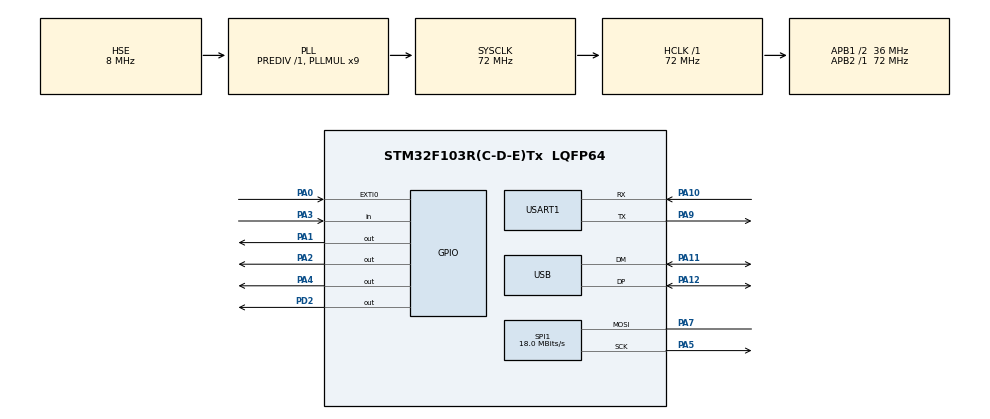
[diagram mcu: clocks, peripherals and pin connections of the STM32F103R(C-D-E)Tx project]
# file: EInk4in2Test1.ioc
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Mcu.Family=STM32F1
Mcu.Name=STM32F103R(C-D-E)Tx
Mcu.Package=LQFP64
NVIC.EXTI0_IRQn=true\:0\:0\:false\:true\:true\:1\:true
NVIC.PriorityGroup=NVIC_PRIORITYGROUP_4
NVIC.USART1_IRQn=true\:0\:0\:false\:false\:true\:true
NVIC.USB_LP_CAN1_RX0_IRQn=true\:0\:0\:false\:false\:true\:false
PA0-WKUP.Signal=GPXTI0
PA1.Signal=GPIO_Output
PA10.Mode=Asynchronous
PA10.Signal=USART1_RX
PA11.Mode=Device
PA11.Signal=USB_DM
PA12.Mode=Device
PA12.Signal=USB_DP
PA13.Mode=JTAG_5_pins
PA13.Signal=SYS_JTMS-SWDIO
PA14.Mode=JTAG_5_pins
PA14.Signal=SYS_JTCK-SWCLK
PA15.Mode=JTAG_5_pins
PA15.Signal=SYS_JTDI
PA2.Signal=GPIO_Output
PA3.Signal=GPIO_Input
PA4.Signal=GPIO_Output
PA5.Mode=Simplex_Bidirectional_Master
PA5.Signal=SPI1_SCK
PA7.Mode=Simplex_Bidirectional_Master
PA7.Signal=SPI1_MOSI
PA9.Mode=Asynchronous
PA9.Signal=USART1_TX
PB3.Mode=JTAG_5_pins
PB3.Signal=SYS_JTDO-TRACESWO
PB4.Mode=JTAG_5_pins
PB4.Signal=SYS_NJTRST
PD0-OSC_IN.Mode=HSE-External-Oscillator
PD0-OSC_IN.Signal=RCC_OSC_IN
PD1-OSC_OUT.Mode=HSE-External-Oscillator
PD1-OSC_OUT.Signal=RCC_OSC_OUT
PD2.Signal=GPIO_Output
ProjectManager.HeapSize=0x200
ProjectManager.StackSize=0x400
ProjectManager.TargetToolchain=TrueSTUDIO
RCC.AHBFreq_Value=72000000
RCC.APB1CLKDivider=RCC_HCLK_DIV2
RCC.APB1Freq_Value=36000000
RCC.APB1TimFreq_Value=72000000
RCC.APB2Freq_Value=72000000
RCC.APB2TimFreq_Value=72000000
RCC.HCLKFreq_Value=72000000
RCC.PLLMUL=RCC_PLL_MUL9
RCC.SYSCLKFreq_VALUE=72000000
RCC.SYSCLKSource=RCC_SYSCLKSOURCE_PLLCLK
RCC.USBFreq_Value=48000000
RCC.USBPrescaler=RCC_USBCLKSOURCE_PLL_DIV1_5
SPI1.BaudRatePrescaler=SPI_BAUDRATEPRESCALER_4
SPI1.CalculateBaudRate=18.0 MBits/s
SPI1.Direction=SPI_DIRECTION_1LINE
SPI1.Mode=SPI_MODE_MASTER
SPI1.VirtualType=VM_MASTER
USART1.VirtualMode=VM_ASYNC
USB_DEVICE.CLASS_NAME_FS=HID
USB_DEVICE.VirtualMode=Hid
USB_DEVICE.VirtualModeFS=Hid_FS
VP_USB_DEVICE_VS_USB_DEVICE_HID_FS.Mode=HID_FS
board=custom

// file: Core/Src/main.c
/**
  ******************************************************************************
  * @file           : main.c
  * @brief          : Main program body
  ******************************************************************************
  * This notice applies to any and all portions of this file
  * that are not between comment pairs USER CODE BEGIN and
  * USER CODE END. Other portions of this file, whether
  * inserted by the user or by software development tools
  * are owned by their respective copyright owners.
  *
  * Copyright (c) 2018 STMicroelectronics International N.V.
  * All rights reserved.
  *
  * Redistribution and use in source and binary forms, with or without
  * modification, are permitted, provided that the following conditions are met:
  *
  * 1. Redistribution of source code must retain the above copyright notice,
  *    this list of conditions and the following disclaimer.
  * 2. Redistributions in binary form must reproduce the above copyright notice,
  *    this list of conditions and the following disclaimer in the documentation
  *    and/or other materials provided with the distribution.
  * 3. Neither the name of STMicroelectronics nor the names of other
  *    contributors to this software may be used to endorse or promote products
  *    derived from this software without specific written permission.
  * 4. This software, including modifications and/or derivative works of this
  *    software, must execute solely and exclusively on microcontroller or
  *    microprocessor devices manufactured by or for STMicroelectronics.
  * 5. Redistribution and use of this software other than as permitted under
  *    this license is void and will automatically terminate your rights under
  *    this license.
  *
  * THIS SOFTWARE IS PROVIDED BY STMICROELECTRONICS AND CONTRIBUTORS "AS IS"
  * AND ANY EXPRESS, IMPLIED OR STATUTORY WARRANTIES, INCLUDING, BUT NOT
  * LIMITED TO, THE IMPLIED WARRANTIES OF MERCHANTABILITY, FITNESS FOR A
  * PARTICULAR PURPOSE AND NON-INFRINGEMENT OF THIRD PARTY INTELLECTUAL PROPERTY
  * RIGHTS ARE DISCLAIMED TO THE FULLEST EXTENT PERMITTED BY LAW. IN NO EVENT
  * SHALL STMICROELECTRONICS OR CONTRIBUTORS BE LIABLE FOR ANY DIRECT, INDIRECT,
  * INCIDENTAL, SPECIAL, EXEMPLARY, OR CONSEQUENTIAL DAMAGES (INCLUDING, BUT NOT
  * LIMITED TO, PROCUREMENT OF SUBSTITUTE GOODS OR SERVICES; LOSS OF USE, DATA,
  * OR PROFITS; OR BUSINESS INTERRUPTION) HOWEVER CAUSED AND ON ANY THEORY OF
  * LIABILITY, WHETHER IN CONTRACT, STRICT LIABILITY, OR TORT (INCLUDING
  * NEGLIGENCE OR OTHERWISE) ARISING IN ANY WAY OUT OF THE USE OF THIS SOFTWARE,
  * EVEN IF ADVISED OF THE POSSIBILITY OF SUCH DAMAGE.
  *
  ******************************************************************************
  */
#include "main.h"
#include "stm32f1xx_hal.h"
#include "spi.h"
#include "usart.h"
#include "usb_device.h"
#include "gpio.h"

/* USER CODE BEGIN Includes */
#include "epd4in2.h"
#include "epdif.h"
#include "epdpaint.h"
#include "imagedata.h"
#include "Page.h"
#include <stdlib.h>
#include <math.h>
/* USER CODE END Includes */

/* USER CODE BEGIN PV */
/* Private variables ---------------------------------------------------------*/

unsigned char frame[EPD_WIDTH * EPD_HEIGHT / 8];
char strBuf[32];
/* USER CODE END PV */

void SystemClock_Config(void);
static void MX_NVIC_Init(void);

/* USER CODE BEGIN PFP */
/* Private function prototypes -----------------------------------------------*/

/* USER CODE END PFP */

/* USER CODE BEGIN 0 */

// Widget
//   position
//   size
//   data
//
// Widget_position : x, y
// Widget_size: w, h
// Widget_data: title, value
// Widget_data_title: const char *
// Widget_data_value: data pointer, data type(...), extra(precision, ... ??)
#if 1

/*
const char * Widget_GetLabel2(unsigned short id)
{
	switch (id)
	{
	case Widget_Empty :
		break;
	case Widget_Speed_Ground :
		return (const char *)"Speed (Km/h)";
	case Widget_Speed_Air :
	case Widget_Speed_Vertical :
		break;

	case Widget_Time_Flight :
	case Widget_Time_Current :
	case Widget_Date_Current :
		break;

	case Widget_Altitude_GPS :
		return "Altitude (m)";
	case Widget_Altitude_QNH :
	case Widget_Altitude_Takeoff :
	case Widget_Altitdue_Gain :
	case Widget_Altitude_Ref :

	case Widget_Heading :
	case Widget_Bearing :

	case Widget_LD :

	case Widget_Status_GPS :
	case Widget_Status_Battery :
	case Widget_Status_Date :
	case Widget_Status_Time :
	case Widget_Status_Bluetooth :
	case Widget_Status_Temperature :

	case Widget_Wind_Direction :
	case Widget_Wind_Speed :

	case Widget_G_VarioBar :
	case Widget_G_VarioHistory :
	case Widget_G_Heading :
	case Widget_G_Bearing :
	case Widget_G_North :
	case Widget_G_ThermalAssist :
		break;
	}

	return "";
}

const char * Widget_GetString2(unsigned short id)
{
	switch (id)
	{
	case Widget_Empty :
		break;
	case Widget_Speed_Ground :
		return "32";
	case Widget_Speed_Air :
	case Widget_Speed_Vertical :

	case Widget_Time_Flight :
	case Widget_Time_Current :
		return "10:33";
	case Widget_Date_Current :
		return "11/14";

	case Widget_Altitude_GPS :
		return "1450";
	case Widget_Altitude_QNH :
	case Widget_Altitude_Takeoff :
	case Widget_Altitdue_Gain :
	case Widget_Altitude_Ref :

	case Widget_Heading :
	case Widget_Bearing :

	case Widget_LD :

	case Widget_Status_GPS :
	case Widget_Status_Battery :
	case Widget_Status_Date :
	case Widget_Status_Time :
	case Widget_Status_Bluetooth :
	case Widget_Status_Temperature :

	case Widget_Wind_Direction :
	case Widget_Wind_Speed :

	case Widget_G_VarioBar :
	case Widget_G_VarioHistory :
	case Widget_G_Heading :
	case Widget_G_Bearing :
	case Widget_G_North :
	case Widget_G_ThermalAssist :
		break;
	}

	return "";
}

void * Widget_GetDataPtr2(unsigned short id)
{
	switch (id)
	{
	case Widget_Empty :
	case Widget_Speed_Ground :
	case Widget_Speed_Air :
	case Widget_Speed_Vertical :

	case Widget_Time_Flight :
	case Widget_Time_Current :
	case Widget_Date_Current :

	case Widget_Altitude_GPS :
	case Widget_Altitude_QNH :
	case Widget_Altitude_Takeoff :
	case Widget_Altitdue_Gain :
	case Widget_Altitude_Ref :

	case Widget_Heading :
	case Widget_Bearing :

	case Widget_LD :

	case Widget_Status_GPS :
	case Widget_Status_Battery :
	case Widget_Status_Date :
	case Widget_Status_Time :
	case Widget_Status_Bluetooth :
	case Widget_Status_Temperature :

	case Widget_Wind_Direction :
	case Widget_Wind_Speed :

	case Widget_G_VarioBar :
	case Widget_G_VarioHistory :
	case Widget_G_Heading :
	case Widget_G_Bearing :
	case Widget_G_North :
	case Widget_G_ThermalAssist :
		break;
	}

	return 0;
}

void Widget_DrawLabel(Widget * this, Paint * paint)
{
	// erase bkground
	Paint_DrawFilledRectangle(paint, this->x, this->y, this->x + this->w - 0, this->y + this->h - 0, COLORED);
	// draw frame
	//Paint_DrawRectangle(paint, this->x, this->y, this->x + this->w - 1, this->y + this->h - 1, COLORED);

	// draw value
	const char * value = Widget_GetString(this->cId);
	int x = this->x + 2;
	int y = this->y + 2;
	Paint_DrawStringAt(paint, x, y, value, &Font12, UNCOLORED);
}

void Widget_DrawText(Widget * this, Paint * paint)
{
	// erase background
	Paint_DrawFilledRectangle(paint, this->x, this->y, this->x + this->w - 0, this->y + this->h - 0, UNCOLORED);
	// draw frame
	Paint_DrawRectangle(paint, this->x, this->y, this->x + this->w - 0, this->y + this->h - 0, COLORED);

	// draw label
	const char * label = Widget_GetLabel(this->cId);
	int x = this->x + 2;
	int y = this->y + 2;
	if (label)
		Paint_DrawStringAt(paint, x, y, label, &Font12, COLORED);

	// draw value
	const char * value = Widget_GetString(this->cId);
	x = this->x + this->w - (Font24.Width * strlen((char *)value));
	y = y + 12;
	Paint_DrawStringAt(paint, x, y, value, &Font24, COLORED);
}
*/

#endif

/**
  * @brief  EXTI line detection callbacks.
  * @param  GPIO_Pin: Specifies the pins connected EXTI line
  * @retval None
  */

volatile int pressed = 0;
volatile uint32_t tick;
volatile uint32_t tickPress;

void HAL_GPIO_EXTI_Callback(uint16_t GPIO_Pin)
{
	tickPress = tick = HAL_GetTick();
	pressed = 1;
}

void goStandbyMode()
{
	  /* Enable Power Clock*/
	  //__HAL_RCC_PWR_CLK_ENABLE();

	  /* Allow access to Backup */
	  //HAL_PWR_EnableBkUpAccess();

	  /* Reset RTC Domain */
	  //__HAL_RCC_BACKUPRESET_FORCE();
	  //__HAL_RCC_BACKUPRESET_RELEASE();

	  /* Disable all used wake-up sources: Pin1(PA.0) */
	  HAL_PWR_DisableWakeUpPin(PWR_WAKEUP_PIN1);

	  /* Clear all related wake-up flags */
	  __HAL_PWR_CLEAR_FLAG(PWR_FLAG_WU);

	  /* Re-enable all used wake-up sources: Pin1(PA.0) */
	  HAL_PWR_EnableWakeUpPin(PWR_WAKEUP_PIN1);

	  /* Request to enter STANDBY mode  */
	  HAL_PWR_EnterSTANDBYMode();

	  /* This code will never be reached! */
	  while (1)
	  {
	  }
}

/* USER CODE END 0 */

int main(void)
{
  /* USER CODE BEGIN 1 */
	unsigned char* frame_buffer = frame; // (unsigned char*)malloc(EPD_WIDTH * EPD_HEIGHT / 8);
  /* USER CODE END 1 */

  /* MCU Configuration----------------------------------------------------------*/

  /* Reset of all peripherals, Initializes the Flash interface and the Systick. */
  HAL_Init();

  /* Configure the system clock */
  SystemClock_Config();

  /* Initialize all configured peripherals */
  MX_GPIO_Init();
  MX_USART1_UART_Init();
  MX_USB_DEVICE_Init();
  MX_SPI1_Init();

  /* Initialize interrupts */
  MX_NVIC_Init();
  /* USER CODE BEGIN 2 */
  if (__HAL_PWR_GET_FLAG(PWR_FLAG_SB) != RESET)
  {
    /* Clear Standby flag */
    __HAL_PWR_CLEAR_FLAG(PWR_FLAG_SB);
  }

  printf("EInk4in2 Test start...\n");

  pressed = 0;
  tick = HAL_GetTick();

  while (1)
  {
	  if (! pressed)
	  {
		  if ((HAL_GetTick() - tick) > 500)
		  {
			  HAL_GPIO_TogglePin(GPIOD, GPIO_PIN_2);
			  tick = HAL_GetTick();
		  }
	  }
	  else
	  {
		  if ((HAL_GetTick() - tickPress) > 200)
		  {
			  HAL_GPIO_TogglePin(GPIOD, GPIO_PIN_2);
			  tickPress = HAL_GetTick();
		  }

		  if (HAL_GPIO_ReadPin(GPIOA, GPIO_PIN_0) == GPIO_PIN_RESET)
		  {
			  if ((HAL_GetTick() - tick) > 2000)
			  {
				 for (int i = 0; i < 10; i++)
				 {
					 HAL_GPIO_TogglePin(GPIOD, GPIO_PIN_2);
					 HAL_Delay(100);
				 }

				 HAL_GPIO_WritePin(GPIOD, GPIO_PIN_2, GPIO_PIN_RESET);
				 HAL_Delay(1000);

				 goStandbyMode();
			  }
			  else
			  {
				  pressed = 0;
			  }
		  }
	  }
  }

  EPD epd;
  if (EPD_Init(&epd) != 0) {
    printf("e-Paper init failed\n");
    return -1;
  }

  //
  EPD_ClearFrame(&epd);
  EPD_DisplayFrame(&epd);

  //
  Paint paint;
  Paint_Init(&paint, frame_buffer, epd.width, epd.height);
  Paint_Clear(&paint, UNCOLORED);

#if 0
#if 1

	Paint_DrawFilledCircle(&paint, 32, 32, 8, COLORED);
	EPD_SetPartialWindow(&epd, Paint_GetImage(&paint), 0, 0, Paint_GetWidth(&paint), Paint_GetHeight(&paint),2);
	EPD_DisplayFrameQuick(&epd);
	EPD_WaitUntilIdle(&epd);

	Paint_DrawFilledCircle(&paint, 16, 16, 8, COLORED);
	EPD_SetPartialWindow(&epd, Paint_GetImage(&paint), 0, 0, Paint_GetWidth(&paint), Paint_GetHeight(&paint),2);
	EPD_DisplayFrameQuick(&epd);
	EPD_WaitUntilIdle(&epd);

	Paint_DrawFilledCircle(&paint, 40, 32, 18, COLORED);
	EPD_SetPartialWindow(&epd, Paint_GetImage(&paint), 0, 0, Paint_GetWidth(&paint), Paint_GetHeight(&paint),2);
	EPD_DisplayFrameQuick(&epd);
	EPD_WaitUntilIdle(&epd);

	Paint_DrawFilledCircle(&paint, 64, 64, 24, COLORED);
	EPD_SetPartialWindow(&epd, Paint_GetImage(&paint), 0, 0, Paint_GetWidth(&paint), Paint_GetHeight(&paint),2);
	EPD_DisplayFrameQuick(&epd);
	EPD_WaitUntilIdle(&epd);

	Paint_DrawFilledCircle(&paint, 200, 150, 50, COLORED);
	EPD_SetPartialWindow(&epd, Paint_GetImage(&paint), 0, 0, Paint_GetWidth(&paint), Paint_GetHeight(&paint),2);
	EPD_DisplayFrameQuick(&epd);
	EPD_WaitUntilIdle(&epd);

	Paint_DrawFilledCircle(&paint, 250, 75, 80, COLORED);
	EPD_SetPartialWindow(&epd, Paint_GetImage(&paint), 0, 0, Paint_GetWidth(&paint), Paint_GetHeight(&paint),2);
	EPD_DisplayFrameQuick(&epd);
	EPD_WaitUntilIdle(&epd);

	Paint_DrawFilledCircle(&paint, 100, 250, 80, COLORED);
	EPD_SetPartialWindow(&epd, Paint_GetImage(&paint), 0, 0, Paint_GetWidth(&paint), Paint_GetHeight(&paint),2);
	EPD_DisplayFrameQuick(&epd);
	EPD_WaitUntilIdle(&epd);

	Paint_DrawFilledCircle(&paint, 100, 250, 50, UNCOLORED);
	EPD_SetPartialWindow(&epd, Paint_GetImage(&paint), 0, 0, Paint_GetWidth(&paint), Paint_GetHeight(&paint),2);
	EPD_DisplayFrameQuick(&epd);
	EPD_WaitUntilIdle(&epd);
	Paint_DrawFilledCircle(&paint, 250, 75, 50, UNCOLORED);
	EPD_SetPartialWindow(&epd, Paint_GetImage(&paint), 0, 0, Paint_GetWidth(&paint), Paint_GetHeight(&paint),2);
	EPD_DisplayFrameQuick(&epd);
	EPD_WaitUntilIdle(&epd);

	Paint_DrawFilledCircle(&paint, 200, 150, 20, UNCOLORED);
	EPD_SetPartialWindow(&epd, Paint_GetImage(&paint), 0, 0, Paint_GetWidth(&paint), Paint_GetHeight(&paint),2);
	EPD_DisplayFrameQuick(&epd);
	EPD_WaitUntilIdle(&epd);
	EPD_DelayMs(&epd, 3000);

	Paint_Clear(&paint, UNCOLORED);
	EPD_DisplayFrame(&epd);

	//
	float phase = 0.0;
	float twopi = 3.14159 * 2;

	static char outstr[15];
	while(phase < 8)
	{
		Paint_Clear(&paint, UNCOLORED);
		Paint_DrawStringAt(&paint, (int)30+phase*10, 30, itoa(phase * 10, outstr, 10), &Font24, COLORED);
		Paint_DrawFilledCircle(&paint, 200+80*sin(phase), 150+80*cos(phase), 20, COLORED);
		EPD_SetPartialWindow(&epd, Paint_GetImage(&paint), 0, 0, Paint_GetWidth(&paint), Paint_GetHeight(&paint),2);
		EPD_DisplayFrameQuick(&epd);
		EPD_WaitUntilIdle(&epd);
		phase = phase + 0.2;
	}

	for(int i = 0; i<2;i++)
	{
		Paint_Clear(&paint, UNCOLORED);
		EPD_SetPartialWindow(&epd, Paint_GetImage(&paint), 0, 0, Paint_GetWidth(&paint), Paint_GetHeight(&paint),2);
		EPD_DisplayFrame(&epd);
		EPD_DelayMs(&epd, 10);
	}

	/* This displays an image */
	EPD_DisplayFrameEx(&epd, IMAGE_BUTTERFLY);
	EPD_DelayMs(&epd, 4000);
	EPD_DisplayFrameEx(&epd, IMAGE_ASCIENCE);
	EPD_DelayMs(&epd, 4000);
	EPD_DisplayFrameEx(&epd, IMAGE_PLAYBUTTON);
	/* Deep sleep */
	EPD_Sleep(&epd);

#else
  /* Draw something to the frame_buffer */
  /* For simplicity, the arguments are explicit numerical coordinates */
  Paint_DrawRectangle(&paint, 20, 80, 180, 280, COLORED);
  Paint_DrawLine(&paint, 20, 80, 180, 280, COLORED);
  Paint_DrawLine(&paint, 180, 80, 20, 280, COLORED);
  Paint_DrawFilledRectangle(&paint, 200, 80, 360, 280, COLORED);
  Paint_DrawCircle(&paint, 300, 160, 60, UNCOLORED);
  Paint_DrawFilledCircle(&paint, 90, 210, 30, COLORED);

  /*Write strings to the buffer */
  Paint_DrawFilledRectangle(&paint, 0, 6, 400, 30, COLORED);
  Paint_DrawStringAt(&paint, 100, 10, "Hello world!", &Font24, UNCOLORED);
  Paint_DrawStringAt(&paint, 100, 40, "e-Paper Demo", &Font24, COLORED);

  /* Display the frame_buffer */
  EPD_DisplayFrameEx(&epd, frame_buffer);

  /* Display the image buffer */
  EPD_DisplayFrameEx(&epd, IMAGE_BUTTERFLY);
#endif
#endif
  /* USER CODE END 2 */

  /* Infinite loop */
  /* USER CODE BEGIN WHILE */
  /*
  int graph[50];
  int sOffset = 0;
  int y1, y2;
  int x, y, w, h;
  uint32_t tick = HAL_GetTick();

  for (int i = 0; i < 50; i++)
	  graph[i] = 60;
	*/

  Paint_DrawFilledRectangle(&paint, 0, 0, 399, 299, UNCOLORED);

  while (1)
  {
#if 0
	  // area1 (0,0) - (200,150)
	  Paint_DrawFilledRectangle(&paint, 0, 0, 200, 150, UNCOLORED);
	  Paint_DrawRectangle(&paint, 0, 0, 200, 150, COLORED);
	  graph[sOffset] = rand() % 100;
	  sOffset = (sOffset + 1) % 50;
	  y1 = graph[sOffset] + 25;
	  for (int i = 1; i < 50; i++)
	  {
		  int j = (sOffset + i) % 50;
		  y2 = graph[j] + 25;
		  Paint_DrawLine(&paint, (i - 1) * 4, y1, i * 4, y2, COLORED);
		  y1 = y2;
	  }

	  // area2 (200,0) - (400,150)
	  Paint_DrawFilledRectangle(&paint, 200, 0, 400, 150, UNCOLORED);
	  Paint_DrawRectangle(&paint, 200, 0, 400, 150, COLORED);
	  Paint_DrawFilledCircle(&paint, 300, 75, rand() % 50 + 10, COLORED);

	  // area3 (0,150) - (200,300)
	  Paint_DrawFilledRectangle(&paint, 0, 150, 200, 300, UNCOLORED);
	  Paint_DrawRectangle(&paint, 0, 150, 200, 300, COLORED);
	  Paint_DrawCircle(&paint, 100, 225, rand() % 50 + 10, COLORED);

	  // area4 (200,15) - (400,300)
	  /*
	  Paint_DrawFilledRectangle(&paint, 200, 150, 400, 300, UNCOLORED);
	  Paint_DrawRectangle(&paint, 200, 150, 400, 300, COLORED);

	  itoa(HAL_GetTick(), strBuf, 10);
	  Paint_DrawStringAt(&paint, 260, 210, strBuf, &Font24, COLORED);
	  */

	  // 5x8 * 10 = 50x8
	  // 7x12 * 10 = 70x12
	  // 17x24 * 5 = 85x24
	  // w = 85 + 1 + 1 = 87
	  // h = 1 + 12 + 24 + 1 = 38
	  x = 210; y = 155;
	  Paint_DrawRectangle(&paint, x, y, x+ 87, y+ 38, COLORED);
	  Paint_DrawStringAt(&paint, x+1, y+1, "Speed Km/h", &Font12, COLORED);
	  Paint_DrawStringAt(&paint, x+1, y+14, "   32", &Font24, COLORED);

	  x = 210; y = 155 + 38;
	  Paint_DrawRectangle(&paint, x, y, x+ 87, y+ 38, COLORED);
	  Paint_DrawStringAt(&paint, x+1, y+1, "Altitude m", &Font12, COLORED);
	  Paint_DrawStringAt(&paint, x+1, y+14, " 1702", &Font24, COLORED);
#else
	  /*
	  //
	  //Paint_DrawFilledRectangle(&paint, 0, 0, 399, 299, UNCOLORED);

	  //
	  x = 0; y = 0;
	  Paint_DrawStringAt(&paint, x, y, "2018-11-12 ", &Font12, COLORED);
	  x = x + 11 * 7; y = 0;
	  Paint_DrawStringAt(&paint, x, y, "08:10 ", &Font12, COLORED);
	  x = x + 6 * 7; y = 0;
	  Paint_DrawStringAt(&paint, x, y, "98%", &Font12, COLORED);

	  //
	  x = 0; y = 12; w = 90; h = 38;
	  //Paint_DrawRectangle(&paint, x, y, x + w, y + h, COLORED);
	  Paint_DrawStringAt(&paint, x+1, y+1, "Altitude (m)", &Font12, COLORED);
	  Paint_DrawStringAt(&paint, x+1, y+14, "1702  ", &Font24, COLORED);

	  x = 0; y = y + h;
	  sprintf((char *)graph, "%d", (HAL_GetTick() - tick) / 100);
	  Paint_DrawFilledRectangle(&paint, x + 1, y + 1, x + w - 2, y + h - 2, UNCOLORED);
	  Paint_DrawStringAt(&paint, x+1, y+1, "Speed Km/h", &Font12, COLORED);
	  x += Font24.Width * (5 - strlen((char *)graph));
	  Paint_DrawStringAt(&paint, x+1, y+14, graph, &Font24, COLORED);
	  */

	  //for (int i = 0; i < sizeof(_widget) / sizeof(_widget[0]); i++)
	  //{
	  //	  Widget_Draw(&_widget[i], &paint);
	  //}
	  Page_Draw(0, &paint);

#endif

	  //
	  uint32_t tickStart = HAL_GetTick();
	  EPD_SetPartialWindow(&epd, Paint_GetImage(&paint), 0, 0, Paint_GetWidth(&paint), Paint_GetHeight(&paint),2);
	  EPD_DisplayFrameQuick(&epd);
	  printf("refresh screen: %lu\n", HAL_GetTick() - tickStart);

	  EPD_DelayMs(&epd, 500);

  /* USER CODE END WHILE */

  }

}

void SystemClock_Config(void)
{

  RCC_OscInitTypeDef RCC_OscInitStruct;
  RCC_ClkInitTypeDef RCC_ClkInitStruct;
  RCC_PeriphCLKInitTypeDef PeriphClkInit;

    /**Initializes the CPU, AHB and APB busses clocks
    */
  RCC_OscInitStruct.OscillatorType = RCC_OSCILLATORTYPE_HSE;
  RCC_OscInitStruct.HSEState = RCC_HSE_ON;
  RCC_OscInitStruct.HSEPredivValue = RCC_HSE_PREDIV_DIV1;
  RCC_OscInitStruct.HSIState = RCC_HSI_ON;
  RCC_OscInitStruct.PLL.PLLState = RCC_PLL_ON;
  RCC_OscInitStruct.PLL.PLLSource = RCC_PLLSOURCE_HSE;
  RCC_OscInitStruct.PLL.PLLMUL = RCC_PLL_MUL9;
  if (HAL_RCC_OscConfig(&RCC_OscInitStruct) != HAL_OK)
  {
    _Error_Handler(__FILE__, __LINE__);
  }

    /**Initializes the CPU, AHB and APB busses clocks
    */
  RCC_ClkInitStruct.ClockType = RCC_CLOCKTYPE_HCLK|RCC_CLOCKTYPE_SYSCLK
                              |RCC_CLOCKTYPE_PCLK1|RCC_CLOCKTYPE_PCLK2;
  RCC_ClkInitStruct.SYSCLKSource = RCC_SYSCLKSOURCE_PLLCLK;
  RCC_ClkInitStruct.AHBCLKDivider = RCC_SYSCLK_DIV1;
  RCC_ClkInitStruct.APB1CLKDivider = RCC_HCLK_DIV2;
  RCC_ClkInitStruct.APB2CLKDivider = RCC_HCLK_DIV1;

  if (HAL_RCC_ClockConfig(&RCC_ClkInitStruct, FLASH_LATENCY_2) != HAL_OK)
  {
    _Error_Handler(__FILE__, __LINE__);
  }

  PeriphClkInit.PeriphClockSelection = RCC_PERIPHCLK_USB;
  PeriphClkInit.UsbClockSelection = RCC_USBCLKSOURCE_PLL_DIV1_5;
  if (HAL_RCCEx_PeriphCLKConfig(&PeriphClkInit) != HAL_OK)
  {
    _Error_Handler(__FILE__, __LINE__);
  }

    /**Configure the Systick interrupt time
    */
  HAL_SYSTICK_Config(HAL_RCC_GetHCLKFreq()/1000);

    /**Configure the Systick
    */
  HAL_SYSTICK_CLKSourceConfig(SYSTICK_CLKSOURCE_HCLK);

  /* SysTick_IRQn interrupt configuration */
  HAL_NVIC_SetPriority(SysTick_IRQn, 0, 0);
}

/**
  * @brief NVIC Configuration.
  * @retval None
  */
static void MX_NVIC_Init(void)
{
  /* EXTI0_IRQn interrupt configuration */
  HAL_NVIC_SetPriority(EXTI0_IRQn, 0, 0);
  HAL_NVIC_EnableIRQ(EXTI0_IRQn);
}

/* USER CODE BEGIN 4 */

#ifdef __cplusplus
 extern "C" {
#endif

int __io_putchar(int ch) {
  HAL_UART_Transmit(&huart1, (uint8_t *)&ch, 1, 0xFFFF);
  return ch;
}

int _write(int file, char *ptr, int len)
{
  /* Implement your write code here, this is used by puts and printf for example */
  int i=0;
  for(i=0 ; i<len ; i++)
	  HAL_UART_Transmit(&huart1, (uint8_t *)&ptr[i], 1, 0xFFFF);
	  //ITM_SendChar((*ptr++));
  return len;
}

#ifdef __cplusplus
}
#endif

/* USER CODE END 4 */

void _Error_Handler(char *file, int line)
{
  while(1)
  {
  }
}

/************************ (C) COPYRIGHT STMicroelectronics *****END OF FILE****/
